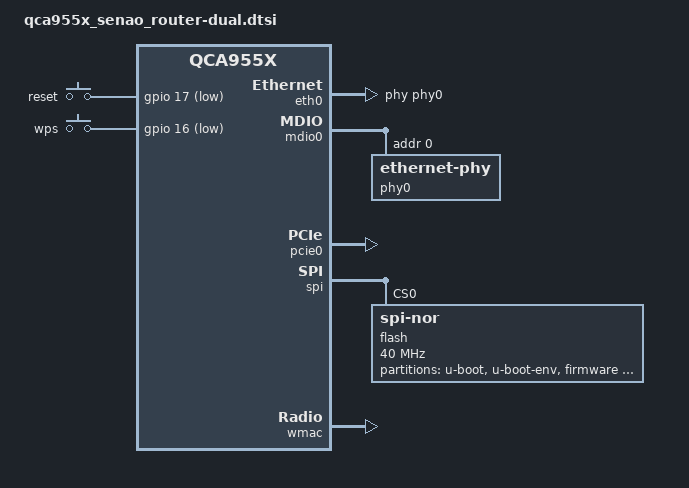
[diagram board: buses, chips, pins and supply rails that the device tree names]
// SPDX-License-Identifier: GPL-2.0-or-later OR MIT

#include "qca955x.dtsi"

#include <dt-bindings/gpio/gpio.h>
#include <dt-bindings/input/input.h>

/ {
	keys {
		compatible = "gpio-keys";

		reset {
			label = "reset";
			linux,code = <KEY_RESTART>;
			gpios = <&gpio 17 GPIO_ACTIVE_LOW>;
			debounce-interval = <60>;
		};

		wps {
			label = "wps";
			linux,code = <KEY_WPS_BUTTON>;
			gpios = <&gpio 16 GPIO_ACTIVE_LOW>;
			debounce-interval = <60>;
		};
	};
};

&eth0 {
	status = "okay";

	phy-handle = <&phy0>;
	pll-data = <0xa6000000 0x00000101 0x00001616>;

	nvmem-cells = <&macaddr_uboot_eth 0>;
	nvmem-cell-names = "mac-address";
};

&mdio0 {
	status = "okay";

	phy0: ethernet-phy@0 {
		reg = <0>;
	};
};

&pcie0 {
	status = "okay";

	wifi0: wifi@0,0 {
		reg = <0x0000 0 0 0 0>;
	};
};

&spi {
	status = "okay";

	flash@0 {
		compatible = "jedec,spi-nor";
		reg = <0>;
		spi-max-frequency = <40000000>;

		partitions {
			compatible = "fixed-partitions";
			#address-cells = <1>;
			#size-cells = <1>;

			partition@0 {
				label = "u-boot";
				reg = <0x000000 0x030000>;
				read-only;
			};

			partition@30000 {
				label = "u-boot-env";
				reg = <0x030000 0x010000>;
				read-only;

				nvmem-layout {
					compatible = "u-boot,env";
					#address-cells = <1>;
					#size-cells = <1>;

					macaddr_uboot_eth: ethaddr {
						#nvmem-cell-cells = <1>;
					};
				};
			};

			partition@40000 {
				compatible = "denx,uimage";
				label = "firmware";
				reg = <0x040000 0xe50000>;
			};

			partition@e90000 {
				label = "manufacture";
				reg = <0xe90000 0x100000>;
				read-only;
			};

			partition@f90000 {
				label = "backup";
				reg = <0xf90000 0x010000>;
				read-only;
			};

			partition@fa0000 {
				label = "storage";
				reg = <0xfa0000 0x050000>;
				read-only;
			};

			partition@ff0000 {
				label = "art";
				reg = <0xff0000 0x010000>;
				read-only;

				nvmem: nvmem-layout {
					compatible = "fixed-layout";
					#address-cells = <1>;
					#size-cells = <1>;

					calibration_art_1000: calibration@1000 {
						reg = <0x1000 0x440>;
					};
				};
			};
		};
	};
};

&wmac {
	status = "okay";
};
